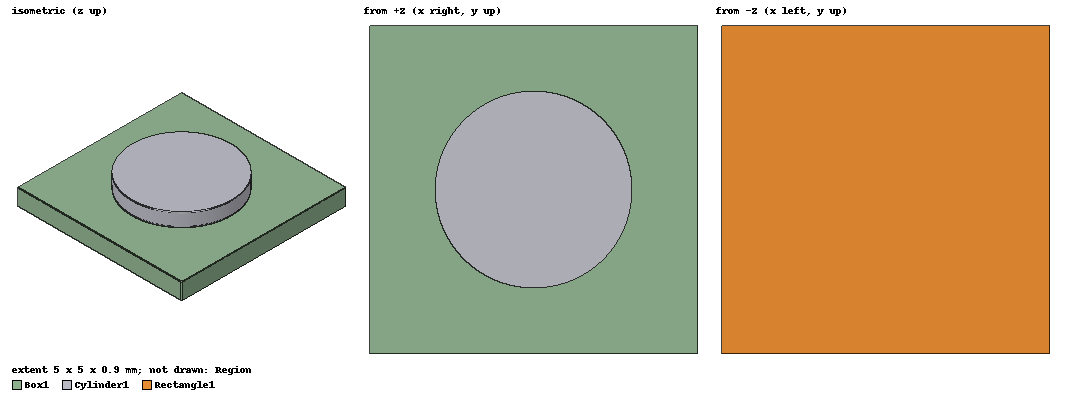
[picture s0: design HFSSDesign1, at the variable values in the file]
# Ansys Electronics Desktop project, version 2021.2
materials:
  vacuum: permittivity=1
  Rogers RT/duroid 5880 (tm): permittivity=2.2 dielectric_loss_tangent=0.0009
  pec: conductivity=1e+30

design HFSSDesign1 (HFSS, DrivenModal, model units mm)
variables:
  Xsize = 5mm
  Ysize = 5mm
  H = 0.5mm
  margin = 1mm
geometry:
  Rectangle1 = rectangle(corner=(0mm, 0mm, 0mm), x_size=Xsize, y_size=Ysize)
  Box1 [Rogers RT/duroid 5880 (tm)] = box(corner=(0mm, 0mm, 0mm), size=(Xsize, Ysize, H))
  Cylinder1 [pec] = cylinder(axis=Z, base_centre=(Xsize/2, Ysize/2, H), radius=Xsize/2-margin, height=0.4mm)
  Region [vacuum] = region(absolute_offset: +X=0mm, -X=0mm, +Y=0mm, -Y=0mm, +Z=10mm, -Z=10mm)
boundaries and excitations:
  PerfE1: Perfect E Objects=Rectangle1
  Primary1: Primary Faces=Region.face(+x) CoordSysVector{Region.vertex(1 of 8) -> Region.vertex(2 of 8)}
  Primary2: Primary Faces=Region.face(+y) CoordSysVector{Region.vertex(2 of 8) -> Region.vertex(3 of 8)}
  Secondary1: Secondary Faces=Region.face(-y) CoordSysVector{Region.vertex(1 of 8) -> Region.vertex(4 of 8)} ReverseV primary=Primary2 PhaseDelay=UseScanAngle Phi=0deg Theta=0deg
  Secondary2: Secondary Faces=Region.face(-x) CoordSysVector{Region.vertex(4 of 8) -> Region.vertex(3 of 8)} ReverseV primary=Primary1 PhaseDelay=UseScanAngle Phi=0deg Theta=0deg
  FloquetPort1: Floquet Port Faces=Region.face(+z) NumModes=2 DeembedDist=10mm Modes{Mode1{CharImp=Zpi} Mode2{CharImp=Zpi}} PhaseDelay=UseScanAngle Phi=0deg Theta=0deg LatticeAVector{Region.vertex(1 of 8) -> Region.vertex(2 of 8)} LatticeBVector{Region.vertex(1 of 8) -> Region.vertex(4 of 8)} ModesList{Mode{ModeNumber=1 IndexM=0 IndexN=0 KC2=0 PropagationState=Propagating Attenuation=0 PolarizationState=TE AffectsRefinement} Mode{ModeNumber=2 IndexM=0 IndexN=0 KC2=0 PropagationState=Propagating Attenuation=0 PolarizationState=TM AffectsRefinement}}
  FloquetPort2: Floquet Port Faces=Region.face(-z) NumModes=2 DeembedDist=10mm Modes{Mode1{CharImp=Zpi} Mode2{CharImp=Zpi}} PhaseDelay=UseScanAngle Phi=0deg Theta=0deg LatticeAVector{Region.vertex(6 of 8) -> Region.vertex(5 of 8)} LatticeBVector{Region.vertex(6 of 8) -> Region.vertex(7 of 8)} ModesList{Mode{ModeNumber=1 IndexM=0 IndexN=0 KC2=0 PropagationState=Propagating Attenuation=0 PolarizationState=TE AffectsRefinement} Mode{ModeNumber=2 IndexM=0 IndexN=0 KC2=0 PropagationState=Propagating Attenuation=0 PolarizationState=TM AffectsRefinement}}
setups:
  Setup1: HfssDriven Frequency=60GHz MaxDeltaS=0.02 MaximumPasses=10 MinimumPasses=1 MinimumConvergedPasses=1 PercentRefinement=30 BasisOrder=1 PortAccuracy=2
    sweep Sweep: 30GHz to 90GHz step 0.01GHz; Type=Interpolating InterpTolerance=0.5 InterpMaxSolns=250 InterpUsePortImped=false PassivityErrorTolerance=0.0001
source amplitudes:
  FloquetPort1:1: 1W 0deg
  FloquetPort1:2, FloquetPort2:1, FloquetPort2:2: 0W 0deg
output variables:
  transmittance = (mag(S(FloquetPort2:1,FloquetPort1:1)))^2
  transmittanceTM = (mag(S(FloquetPort2:2,FloquetPort1:2)))^2
  ReflectanceTE = (mag(S(FloquetPort1:1,FloquetPort1:1)))^2
  ReflectanceTM = (mag(S(FloquetPort1:2,FloquetPort1:2)))^2
  AbsorbanceTE = 1-((mag(S(FloquetPort1:1,FloquetPort1:1)))^2 +(mag(S(FloquetPort2:1,FloquetPort1:1)))^2)
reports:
  Transmittance: transmittance, transmittanceTM vs Freq on Setup1 : Sweep
  TE: dB(S(FloquetPort1:1,FloquetPort1:1)), dB(S(FloquetPort2:1,FloquetPort1:1)) vs Freq on Setup1 : Sweep
  TM: dB(S(FloquetPort1:2,FloquetPort1:2)), dB(S(FloquetPort2:2,FloquetPort1:2)) vs Freq on Setup1 : Sweep
  Reflectance: ReflectanceTE, ReflectanceTM vs Freq on Setup1 : Sweep
  Output Variables Plot 1: AbsorbanceTE vs Freq on Setup1 : Sweep
